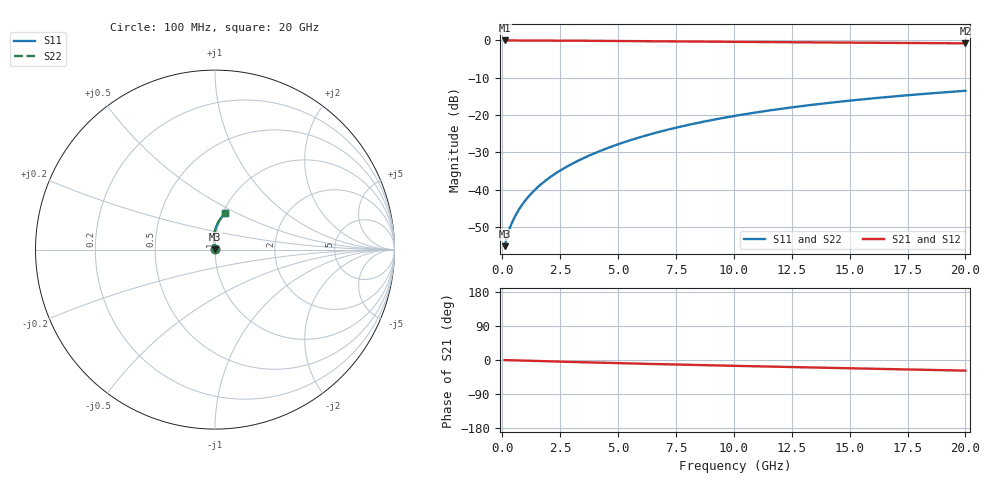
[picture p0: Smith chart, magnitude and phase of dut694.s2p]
! Touchstone file exported from HFSS 2024.1.0
!  File:  C:/UserFiles/LocalFiles/RDL_TSV_Batchsim/temp_RDL_top_694_1779782932.aedt
!  Generated:  04:10:58 PM May 26, 2026
!  Design:  RDL_top
!  Project:  temp_RDL_top_694_1779782932
!  Setup:  Setup1
!  Solution:  Sweep
! Variables:
!  dtsv = 10.80580581um
!  hbump = 3um
!  htsv = 87.85um
!  ldown = 100um
!  lrdl = 424.53um
!  p = 40
!  p1 = 48.94um
!  rhole = 1um
!  t = 450um
!  tdown = 3.915915916um
!  trdl = 3.99um
!  wdown = 15.38538539um
!  wrdl = 29.82um
# GHz S MA R 50.000000
! Terminal data exported
! Port[1] = Box2_T1
! Port[2] = Box2_T2
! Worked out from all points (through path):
!   200 points, 100 MHz to 20 GHz, reference 50 ohm
!   highest |S21| = -0.01 dB at 100 MHz (marker M1); lowest = -0.8 dB at 20 GHz (marker M2)
!   group delay of S21, straight-line fit = 3.82 ps
!   lowest |S11| = -55.1 dB at 100 MHz (marker M3), VSWR 1.00, Z = 50.2 + j0.088 ohm
!   |S11| at or under -10 dB: start of sweep to end of sweep
!   |S22| runs from -55.1 to -13.5 dB; largest |S21 - S12| = 3.5e-15
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0.1  0.001749 30.1  0.9985 -0.2  0.9985 -0.2  0.001749 30.1
! Gamma 0 0 0 0
! Port Impedance 50 0 50 0
0.2  0.002328 45.1  0.9983 -0.4  0.9983 -0.4  0.002328 45.1
0.3  0.002921 53.4  0.9981 -0.5  0.9981 -0.5  0.002921 53.4
0.4  0.003503 59.1  0.998 -0.7  0.998 -0.7  0.003503 59.1
0.5  0.004089 63.7  0.9979 -0.9  0.9979 -0.9  0.00409 63.7
0.8  0.005925 72.9  0.9975 -1.4  0.9975 -1.4  0.005926 72.9
1  0.007212 77.0  0.9972 -1.7  0.9972 -1.7  0.007213 76.9
1.2  0.008541 80.0  0.9968 -2.1  0.9968 -2.1  0.008541 80.0
1.7  0.01202 85.3  0.9957 -2.9  0.9957 -2.9  0.01202 85.3
2.2  0.01572 88.8  0.9943 -3.8  0.9943 -3.8  0.01572 88.7
2.8  0.02045 91.6  0.9922 -4.8  0.9922 -4.8  0.02044 91.6
3.5  0.02638 93.7  0.9893 -5.9  0.9893 -5.9  0.02638 93.7
4.2  0.03277 95.0  0.9861 -7.0  0.9861 -7.0  0.03276 95.0
5  0.04057 95.7  0.9821 -8.3  0.9821 -8.3  0.04055 95.6
5.9  0.04991 95.7  0.9775 -9.6  0.9775 -9.6  0.04989 95.7
6.8  0.05974 95.2  0.9727 -10.9  0.9727 -10.9  0.05971 95.2
8.4  0.07804 93.5  0.9644 -13.2  0.9644 -13.2  0.07799 93.5
10.1  0.09811 91.0  0.956 -15.5  0.956 -15.5  0.09804 91.0
11.7  0.1172 88.4  0.9485 -17.6  0.9485 -17.6  0.1171 88.3
13.4  0.1373 85.4  0.941 -19.8  0.941 -19.8  0.1372 85.4
16.7  0.1752 79.8  0.9272 -24.0  0.9272 -24.0  0.1751 79.8
20  0.2112 74.5  0.9139 -28.0  0.9139 -28.0  0.211 74.5
